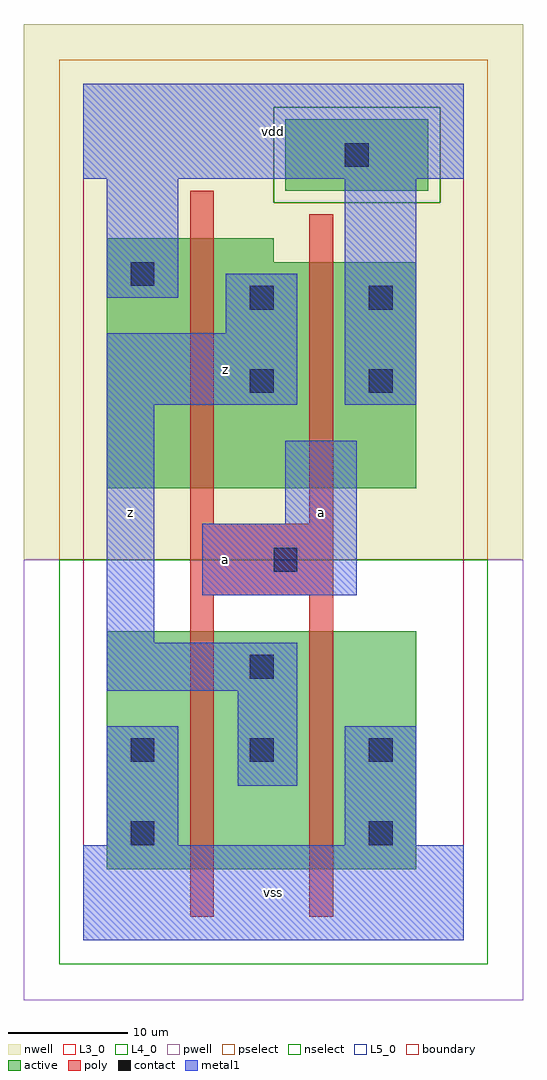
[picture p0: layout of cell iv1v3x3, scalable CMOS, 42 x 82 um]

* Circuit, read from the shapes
.subckt iv1v3x3 a vdd vss z
M1 z a vss VSUBS nfet w=20u l=2u m=2
M2 z a vdd vdd pfet w=21u l=2u
M3 vdd a z vdd pfet w=19u l=2u
.ends

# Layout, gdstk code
import gdstk
lib = gdstk.Library(unit=1e-6, precision=1e-09)
def R(c, l, rs):  # rectangles x0, y0, x1, y1
    for r in rs: c.add(gdstk.rectangle(r[:2], r[2:], *l))
def A(c, l, x, y, w, h, nx, ny, dx, dy):  # array of equal rectangles
    R(c, l, [(x+i*dx, y+j*dy, x+i*dx+w, y+j*dy+h) for i in range(nx) for j in range(ny)])
L3_0 = (3, 0)
L4_0 = (4, 0)
L5_0 = (5, 0)
contact = (25, 0)
pwell = (41, 0)
nwell = (42, 0)
active = (43, 0)
pselect = (44, 0)
nselect = (45, 0)
poly = (46, 0)
metal1 = (49, 0)
boundary = (63, 0)

iv1v3x3 = lib.new_cell('iv1v3x3')
R(iv1v3x3, L3_0, [(2,6,28,26)])
R(iv1v3x3, L4_0, [(2,38,28,57), (2,57,16,59)])
R(iv1v3x3, L5_0, [(17,63,29,69)])
A(iv1v3x3, contact, 4, 15, 2, 2, 3, 1, 10, 0)
R(iv1v3x3, contact, [(4,8,6,10), (24,8,26,10), (14,22,16,24), (16,31,18,33), (14,46,16,48), (24,46,26,48), (14,53,16,55), (24,53,26,55), (4,55,6,57), (22,65,24,67)])
R(iv1v3x3, pwell, [(-5,-5,37,32)])
R(iv1v3x3, nwell, [(-5,32,37,77)])
R(iv1v3x3, active, [(2,6,28,26), (2,38,28,57), (2,57,16,59), (17,63,29,69)])
R(iv1v3x3, pselect, [(-2,32,34,62), (-2,62,16,70), (30,62,34,70), (-2,70,34,74)])
R(iv1v3x3, nselect, [(-2,-2,34,32), (16,62,30,70)])
R(iv1v3x3, poly, [(9,2,11,29), (19,2,21,29), (9,29,21,35), (9,35,11,63), (19,35,21,61)])
R(iv1v3x3, metal1, [(0,0,32,8), (2,8,8,18), (22,8,28,18), (13,13,18,21), (2,21,18,25), (2,25,6,45), (10,29,23,35), (17,35,23,42), (2,45,18,51), (22,45,28,64), (12,51,18,56), (2,54,8,64), (0,64,32,72)])
R(iv1v3x3, boundary, [(0,0,32,72)])
iv1v3x3.add(gdstk.Label('z', (4,36), layer=49, texttype=0))
iv1v3x3.add(gdstk.Label('a', (12,32), layer=49, texttype=0))
iv1v3x3.add(gdstk.Label('z', (12,48), layer=49, texttype=0))
iv1v3x3.add(gdstk.Label('vss', (16,4), layer=49, texttype=0))
iv1v3x3.add(gdstk.Label('a', (20,36), layer=49, texttype=0))
iv1v3x3.add(gdstk.Label('vdd', (16,68), layer=49, texttype=0))

lib.write_gds('iv1v3x3.gds')
